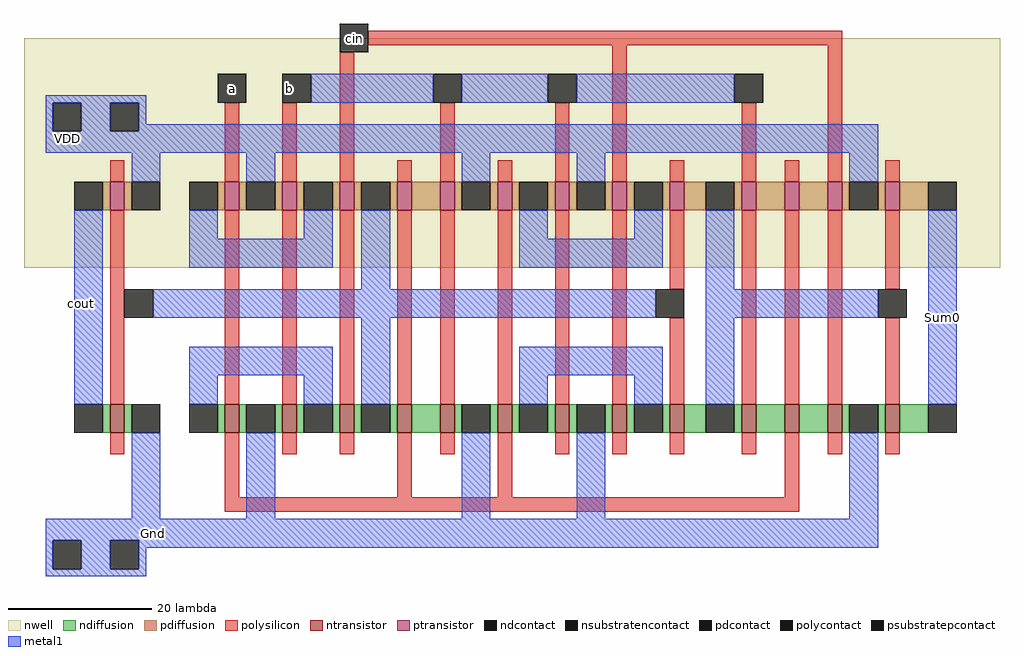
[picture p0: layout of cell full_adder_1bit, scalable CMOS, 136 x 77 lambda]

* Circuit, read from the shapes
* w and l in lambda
.subckt full_adder_1bit Gnd Sum0 VDD a b cin cout
M1 Gnd n1 cout Gnd nfet w=4 l=2
M2 Gnd a n2 Gnd nfet w=4 l=2
M3 n2 b Gnd Gnd nfet w=4 l=2
M4 n1 cin n2 Gnd nfet w=4 l=2
M5 n3 a n1 Gnd nfet w=4 l=2
M6 Gnd b n3 Gnd nfet w=4 l=2
M7 n4 a Gnd Gnd nfet w=4 l=2
M8 Gnd b n4 Gnd nfet w=4 l=2
M9 n4 cin Gnd Gnd nfet w=4 l=2
M10 n5 n1 n4 Gnd nfet w=4 l=2
M11 n6 b n5 Gnd nfet w=4 l=2
M12 n7 a n6 Gnd nfet w=4 l=2
M13 Gnd cin n7 Gnd nfet w=4 l=2
M14 Sum0 n5 Gnd Gnd nfet w=4 l=2
M15 VDD n1 cout VDD pfet w=4 l=2
M16 VDD a n8 VDD pfet w=4 l=2
M17 n8 b VDD VDD pfet w=4 l=2
M18 n1 cin n8 VDD pfet w=4 l=2
M19 n9 a n1 VDD pfet w=4 l=2
M20 VDD b n9 VDD pfet w=4 l=2
M21 n10 a VDD VDD pfet w=4 l=2
M22 VDD b n10 VDD pfet w=4 l=2
M23 n10 cin VDD VDD pfet w=4 l=2
M24 n5 n1 n10 VDD pfet w=4 l=2
M25 n11 b n5 VDD pfet w=4 l=2
M26 n12 a n11 VDD pfet w=4 l=2
M27 VDD cin n12 VDD pfet w=4 l=2
M28 Sum0 n5 VDD VDD pfet w=4 l=2
.ends

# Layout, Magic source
magic
tech scmos
<< nwell >>
rect -7 4 129 36
<< ntransistor >>
rect 5 -19 7 -15
rect 21 -19 23 -15
rect 29 -19 31 -15
rect 37 -19 39 -15
rect 45 -19 47 -15
rect 51 -19 53 -15
rect 59 -19 61 -15
rect 67 -19 69 -15
rect 75 -19 77 -15
rect 83 -19 85 -15
rect 93 -19 95 -15
rect 99 -19 101 -15
rect 105 -19 107 -15
rect 113 -19 115 -15
<< ptransistor >>
rect 5 12 7 16
rect 21 12 23 16
rect 29 12 31 16
rect 37 12 39 16
rect 45 12 47 16
rect 51 12 53 16
rect 59 12 61 16
rect 67 12 69 16
rect 75 12 77 16
rect 83 12 85 16
rect 93 12 95 16
rect 99 12 101 16
rect 105 12 107 16
rect 113 12 115 16
<< ndiffusion >>
rect 4 -19 5 -15
rect 7 -19 8 -15
rect 20 -19 21 -15
rect 23 -19 24 -15
rect 28 -19 29 -15
rect 31 -19 32 -15
rect 36 -19 37 -15
rect 39 -19 40 -15
rect 44 -19 45 -15
rect 47 -19 51 -15
rect 53 -19 54 -15
rect 58 -19 59 -15
rect 61 -19 62 -15
rect 66 -19 67 -15
rect 69 -19 70 -15
rect 74 -19 75 -15
rect 77 -19 78 -15
rect 82 -19 83 -15
rect 85 -19 88 -15
rect 92 -19 93 -15
rect 95 -19 99 -15
rect 101 -19 105 -15
rect 107 -19 108 -15
rect 112 -19 113 -15
rect 115 -19 119 -15
<< pdiffusion >>
rect 4 12 5 16
rect 7 12 8 16
rect 20 12 21 16
rect 23 12 24 16
rect 28 12 29 16
rect 31 12 32 16
rect 36 12 37 16
rect 39 12 40 16
rect 44 12 45 16
rect 47 12 51 16
rect 53 12 54 16
rect 58 12 59 16
rect 61 12 62 16
rect 66 12 67 16
rect 69 12 70 16
rect 74 12 75 16
rect 77 12 78 16
rect 82 12 83 16
rect 85 12 88 16
rect 92 12 93 16
rect 95 12 99 16
rect 101 12 105 16
rect 107 12 108 16
rect 112 12 113 16
rect 115 12 119 16
<< ndcontact >>
rect 0 -19 4 -15
rect 8 -19 12 -15
rect 16 -19 20 -15
rect 24 -19 28 -15
rect 32 -19 36 -15
rect 40 -19 44 -15
rect 54 -19 58 -15
rect 62 -19 66 -15
rect 70 -19 74 -15
rect 78 -19 82 -15
rect 88 -19 92 -15
rect 108 -19 112 -15
rect 119 -19 123 -15
<< pdcontact >>
rect 0 12 4 16
rect 8 12 12 16
rect 16 12 20 16
rect 24 12 28 16
rect 32 12 36 16
rect 40 12 44 16
rect 54 12 58 16
rect 62 12 66 16
rect 70 12 74 16
rect 78 12 82 16
rect 88 12 92 16
rect 108 12 112 16
rect 119 12 123 16
<< psubstratepcontact >>
rect -3 -38 1 -34
rect 5 -38 9 -34
<< nsubstratencontact >>
rect -3 23 1 27
rect 5 23 9 27
<< polysilicon >>
rect 41 35 107 37
rect 5 16 7 19
rect 21 16 23 27
rect 29 16 31 27
rect 37 16 39 34
rect 45 16 47 19
rect 51 16 53 27
rect 59 16 61 19
rect 67 16 69 27
rect 75 16 77 35
rect 83 16 85 19
rect 93 16 95 27
rect 99 16 101 19
rect 105 16 107 35
rect 113 16 115 19
rect 5 -15 7 12
rect 21 -15 23 12
rect 29 -15 31 12
rect 37 -15 39 12
rect 45 -15 47 12
rect 51 -15 53 12
rect 59 -15 61 12
rect 67 -15 69 12
rect 75 -15 77 12
rect 83 1 85 12
rect 83 -15 85 -3
rect 93 -15 95 12
rect 99 -15 101 12
rect 105 -15 107 12
rect 113 1 115 12
rect 113 -15 115 -3
rect 5 -22 7 -19
rect 21 -28 23 -19
rect 29 -22 31 -19
rect 37 -22 39 -19
rect 45 -28 47 -19
rect 51 -22 53 -19
rect 59 -28 61 -19
rect 67 -22 69 -19
rect 75 -22 77 -19
rect 83 -22 85 -19
rect 93 -22 95 -19
rect 99 -28 101 -19
rect 105 -22 107 -19
rect 113 -22 115 -19
rect 21 -30 101 -28
<< polycontact >>
rect 37 34 41 38
rect 20 27 24 31
rect 29 27 33 31
rect 50 27 54 31
rect 66 27 70 31
rect 92 27 96 31
rect 7 -3 11 1
rect 81 -3 85 1
rect 112 -3 116 1
<< metal1 >>
rect -4 27 10 28
rect 33 27 50 31
rect 54 27 66 31
rect 70 27 92 31
rect -4 23 -3 27
rect 1 23 5 27
rect 9 24 10 27
rect 9 23 112 24
rect -4 20 112 23
rect 8 16 12 20
rect 24 16 28 20
rect 54 16 58 20
rect 70 16 74 20
rect 108 16 112 20
rect 0 -15 4 12
rect 16 8 20 12
rect 32 8 36 12
rect 16 4 36 8
rect 40 1 44 12
rect 62 8 66 12
rect 78 8 82 12
rect 62 4 82 8
rect 88 1 92 12
rect 11 -3 81 1
rect 88 -3 112 1
rect 16 -11 36 -7
rect 16 -15 20 -11
rect 32 -15 36 -11
rect 40 -15 44 -3
rect 62 -11 82 -7
rect 62 -15 66 -11
rect 78 -15 82 -11
rect 88 -15 92 -3
rect 119 -15 123 12
rect 8 -31 12 -19
rect 24 -31 28 -19
rect 54 -31 58 -19
rect 70 -31 74 -19
rect 108 -31 112 -19
rect -4 -34 112 -31
rect -4 -38 -3 -34
rect 1 -38 5 -34
rect 9 -35 112 -34
rect 9 -38 10 -35
rect -4 -39 10 -38
<< labels >>
rlabel metal1 -1 22 -1 22 1 VDD
rlabel metal1 121 -3 121 -3 1 Sum0
rlabel metal1 11 -33 11 -33 1 Gnd
rlabel polycontact 22 29 22 29 1 a
rlabel polycontact 30 29 30 29 1 b
rlabel polycontact 39 36 39 36 5 cin
rlabel metal1 1 -1 1 -1 1 cout
<< end >>
